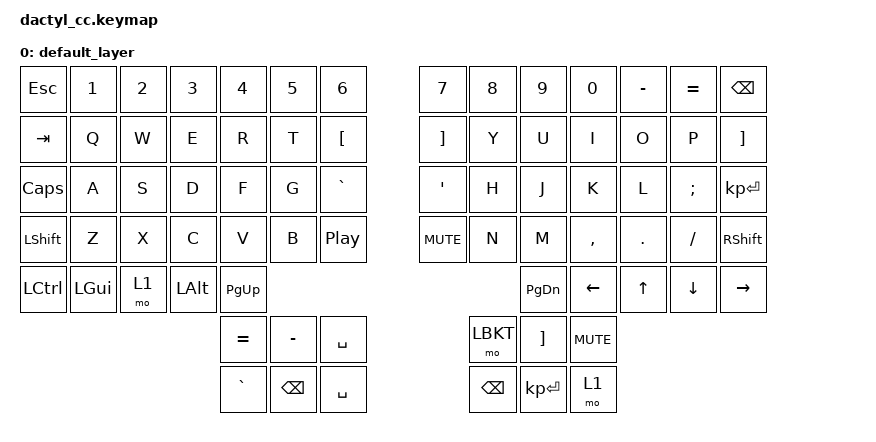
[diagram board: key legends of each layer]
#include <behaviors.dtsi>
#include <dt-bindings/zmk/keys.h>
#include <dt-bindings/zmk/bt.h>
#include <dt-bindings/zmk/outputs.h>

#define DEFAULT 0
#define MAC     1
#define LOWER   2
#define RAISE   3
#define ADJUST  4

#define HYPER(key) LS(LC(LA(LG(key))))
#define MEH(key)   LS(LC(LA(key)))

&sl {
    release-after-ms = <5000>;
};

&kscan0 {
    debounce-press-ms = <30>;
    debounce-release-ms = <30>;
};

/ {
    keymap {
        compatible = "zmk,keymap";

        default_layer {
            bindings = <
&kp ESCAPE    &kp N1    &kp N2   &kp N3    &kp N4    &kp N5  &kp N6                  &kp N7      &kp N8    &kp N9    &kp N0    &kp MINUS  &kp EQUAL  &kp BACKSPACE     
&kp TAB       &kp Q     &kp W    &kp E     &kp R     &kp T   &kp LBKT                &kp RBKT    &kp Y     &kp U     &kp I     &kp O      &kp P      &kp RBKT
&kp CAPS      &kp A     &kp S    &kp D     &kp F     &kp G   &kp GRAVE               &kp APOS    &kp H     &kp J     &kp K     &kp L      &kp SEMI   &kp KP_ENTER
&kp LSHFT     &kp Z     &kp X    &kp C     &kp V     &kp B   &kp C_PP                &kp C_MUTE  &kp N     &kp M     &kp COMMA &kp DOT    &kp FSLH   &kp RSHFT
&kp LCTRL     &kp LGUI  &mo 1    &kp LALT  &kp PG_UP                                                       &kp PG_DN &kp LEFT   &kp UP    &kp DOWN   &kp RIGHT
                                         &kp EQUAL   &kp MINUS    &kp SPACE               &mo LBKT  &kp RBKT         &kp C_MUTE
                                         &kp GRAVE   &kp BSPC     &kp SPACE               &kp BACKSPACE &kp KP_ENTER &mo 1
                                             
            >;
        };
    };
};
